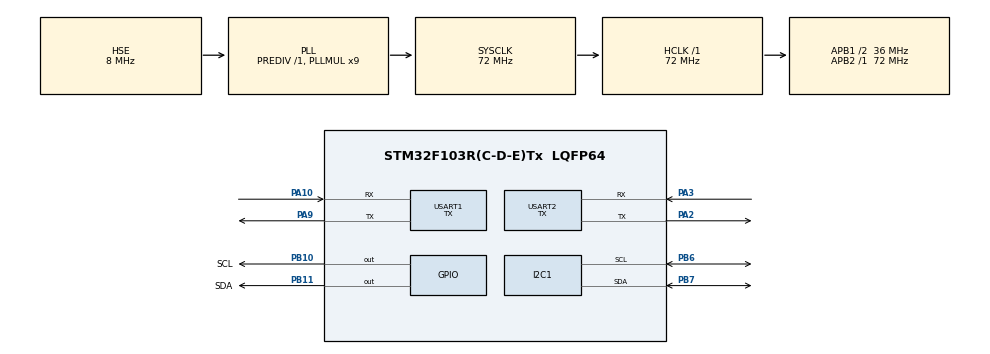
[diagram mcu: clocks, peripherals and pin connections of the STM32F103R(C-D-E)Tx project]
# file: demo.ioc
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Mcu.Family=STM32F1
Mcu.Name=STM32F103R(C-D-E)Tx
Mcu.Package=LQFP64
NVIC.PriorityGroup=NVIC_PRIORITYGROUP_4
NVIC.USART1_IRQn=true\:0\:0\:false\:false\:true\:true\:true\:true
PA10.Mode=Asynchronous
PA10.Signal=USART1_RX
PA13.Mode=Serial_Wire
PA13.Signal=SYS_JTMS-SWDIO
PA14.Mode=Serial_Wire
PA14.Signal=SYS_JTCK-SWCLK
PA2.Mode=Asynchronous
PA2.Signal=USART2_TX
PA3.Mode=Asynchronous
PA3.Signal=USART2_RX
PA9.Mode=Asynchronous
PA9.Signal=USART1_TX
PB10.GPIO_Label=SCL
PB10.Signal=GPIO_Output
PB11.GPIO_Label=SDA
PB11.Signal=GPIO_Output
PB6.Mode=I2C
PB6.Signal=I2C1_SCL
PB7.Mode=I2C
PB7.Signal=I2C1_SDA
PD0-OSC_IN.Mode=HSE-External-Oscillator
PD0-OSC_IN.Signal=RCC_OSC_IN
PD1-OSC_OUT.Mode=HSE-External-Oscillator
PD1-OSC_OUT.Signal=RCC_OSC_OUT
ProjectManager.HeapSize=0x200
ProjectManager.StackSize=0x400
ProjectManager.TargetToolchain=MDK-ARM V5
RCC.AHBFreq_Value=72000000
RCC.APB1CLKDivider=RCC_HCLK_DIV2
RCC.APB1Freq_Value=36000000
RCC.APB1TimFreq_Value=72000000
RCC.APB2Freq_Value=72000000
RCC.APB2TimFreq_Value=72000000
RCC.HCLKFreq_Value=72000000
RCC.PLLMUL=RCC_PLL_MUL9
RCC.PLLSourceVirtual=RCC_PLLSOURCE_HSE
RCC.SYSCLKFreq_VALUE=72000000
RCC.SYSCLKSource=RCC_SYSCLKSOURCE_PLLCLK
RCC.USBFreq_Value=72000000
USART1.Mode=MODE_TX
USART1.VirtualMode=VM_ASYNC
USART2.Mode=MODE_TX
USART2.VirtualMode=VM_ASYNC
board=custom

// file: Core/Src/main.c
/* USER CODE BEGIN Header */
/**
 ******************************************************************************
 * @file           : main.c
 * @brief          : Main program body
 ******************************************************************************
 * @attention
 *
 * <h2><center>&copy; Copyright (c) 2022 STMicroelectronics.
 * All rights reserved.</center></h2>
 *
 * This software component is licensed by ST under BSD 3-Clause license,
 * the "License"; You may not use this file except in compliance with the
 * License. You may obtain a copy of the License at:
 *                        opensource.org/licenses/BSD-3-Clause
 *
 ******************************************************************************
 */
/* USER CODE END Header */
#include "main.h"
#include "i2c.h"
#include "usart.h"
#include "gpio.h"

/* USER CODE BEGIN Includes */
#include "i2cdev/i2cdev.h"

/* USER CODE END Includes */

void SystemClock_Config(void);

int main(void)
{

    /* MCU Configuration--------------------------------------------------------*/

    /* Reset of all peripherals, Initializes the Flash interface and the Systick. */
    HAL_Init();

    /* Configure the system clock */
    SystemClock_Config();

    /* Initialize all configured peripherals */
    MX_GPIO_Init();
    MX_USART1_UART_Init();
    MX_USART2_UART_Init();
    MX_I2C1_Init();

    /* Infinite loop */
    /* USER CODE BEGIN WHILE */

    static soft_i2c_t swi2c_bus = {
        .SCL_Port = GPIOB,
        .SCL_Pin  = GPIO_PIN_10,
        .SDA_Port = GPIOB,
        .SDA_Pin  = GPIO_PIN_11,
        .Interval = 6,
    };

    struct i2c_cli bme280 = {
        .bus = &swi2c_bus,
        .drv = &swi2c_drv,
        .dev = 0x76 << 1,
        .ops = I2C_DEV_7BIT | I2C_REG_8BIT,
    };

    swi2c_drv.init(&swi2c_bus);

    i2cdrv_detector(&swi2c_bus, &swi2c_drv);

    i2cdev_viewer(&bme280, 0xD0, 0xD2, UINT_FORMAT_HEX);

    uint8_t reg = 0xF5;

    i2cdev_write_byte(&bme280, reg, 0b10100101);
    print_binary(i2cdev_get_byte(&bme280, reg, 0x00));

    i2cdev_write_bit(&bme280, reg, 3, 1);
    println("\n%d", i2cdev_get_bit(&bme280, reg, 3, 0));  // 1
    print_binary(i2cdev_get_byte(&bme280, reg, 0x00));    // 0b10101101

    i2cdev_write_bits(&bme280, reg, 3, 2, 2);
    println("\n%d", i2cdev_get_bits(&bme280, reg, 3, 2, 0));  // 2
    print_binary(i2cdev_get_byte(&bme280, reg, 0x00));        // 0b10110101

    while (1) {
        // i2c_scan(&bus);

        HAL_Delay(500);
        /* USER CODE END WHILE */

    }
}

void SystemClock_Config(void)
{
    RCC_OscInitTypeDef RCC_OscInitStruct = {0};
    RCC_ClkInitTypeDef RCC_ClkInitStruct = {0};

    /** Initializes the RCC Oscillators according to the specified parameters
     * in the RCC_OscInitTypeDef structure.
     */
    RCC_OscInitStruct.OscillatorType     = RCC_OSCILLATORTYPE_HSE;
    RCC_OscInitStruct.HSEState           = RCC_HSE_ON;
    RCC_OscInitStruct.HSEPredivValue     = RCC_HSE_PREDIV_DIV1;
    RCC_OscInitStruct.HSIState           = RCC_HSI_ON;
    RCC_OscInitStruct.PLL.PLLState       = RCC_PLL_ON;
    RCC_OscInitStruct.PLL.PLLSource      = RCC_PLLSOURCE_HSE;
    RCC_OscInitStruct.PLL.PLLMUL         = RCC_PLL_MUL9;
    if (HAL_RCC_OscConfig(&RCC_OscInitStruct) != HAL_OK) {
        Error_Handler();
    }

    /** Initializes the CPU, AHB and APB buses clocks
     */
    RCC_ClkInitStruct.ClockType      = RCC_CLOCKTYPE_HCLK | RCC_CLOCKTYPE_SYSCLK | RCC_CLOCKTYPE_PCLK1 | RCC_CLOCKTYPE_PCLK2;
    RCC_ClkInitStruct.SYSCLKSource   = RCC_SYSCLKSOURCE_PLLCLK;
    RCC_ClkInitStruct.AHBCLKDivider  = RCC_SYSCLK_DIV1;
    RCC_ClkInitStruct.APB1CLKDivider = RCC_HCLK_DIV2;
    RCC_ClkInitStruct.APB2CLKDivider = RCC_HCLK_DIV1;

    if (HAL_RCC_ClockConfig(&RCC_ClkInitStruct, FLASH_LATENCY_2) != HAL_OK) {
        Error_Handler();
    }
}

void Error_Handler(void)
{
}
